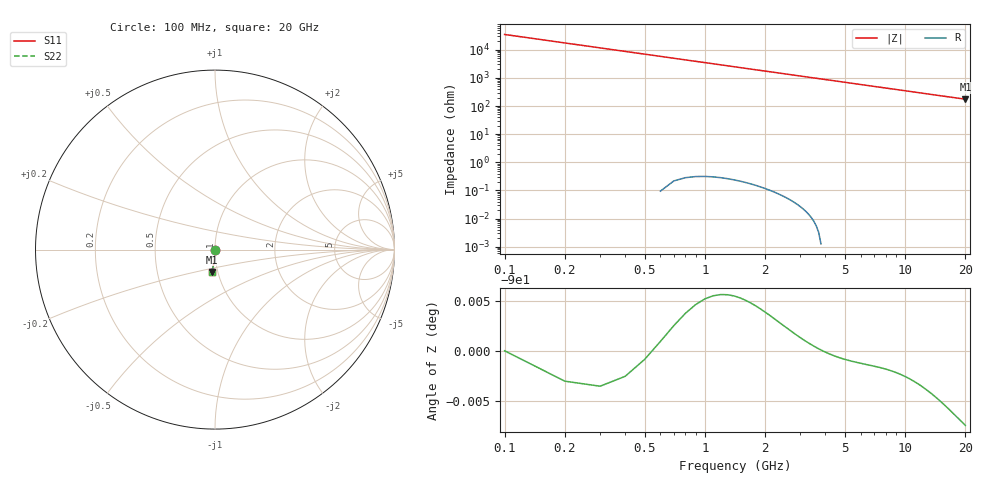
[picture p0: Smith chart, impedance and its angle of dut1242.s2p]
! Touchstone file exported from HFSS 2026.1.0
!  File:  C:/ffzhzh/LocalFiles/Ansys_Project_Files/temp_train_TSV_1242_1783193473_51560.aedt
!  Generated:  03:32:27 AM Jul  5, 2026
!  Design:  TSV
!  Project:  temp_train_TSV_1242_1783193473_51560
! Variables:
!  h_bsmrdl = 2um
!  h_ox = 20um
!  h_rdl = 5um
!  h_sub = 58.53um
!  h_tmrdl = 5um
!  h_tsv = 58.53um
!  h_via = 3um
!  l_bsmrdl = 300um
!  l_sub = 427um
!  l_tmrdl = 200um
!  m_sub = 200um
!  pitch = 29.53um
!  r_tsv = 13.5um
!  s_tmrdl = 10um
!  w_bsmrdl = 18um
!  w_sub = 500um
!  w_tmrdl = 12um
!  x_tsv_center1 = 206um
!  x_tsv_center2 = 524um
!  x_tsv_center3 = 736um
!  x_tsv_center4 = 1054um
!  x_tsv_center5 = 1266um
!  x_tsv_center6 = 1584um
# GHz S MA R 50.000000
! Terminal data exported
! Port[1] = TSV1_1_T1
! Port[2] = TSV1_1_T2
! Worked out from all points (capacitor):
!   200 points, 100 MHz to 20 GHz, reference 50 ohm
!   read as one part in shunt: C = 45.7 fF near 200 MHz
!   lowest |Z| = 174 ohm at 20 GHz (marker M1)
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0.1  0.0005899 -82.0  0.9999 -0.0  0.9999 -0.0  0.0005899 -82.0
! Gamma 0 0 0 0
! Port Impedance 50 0 50 0
0.2  0.001178 -85.2  0.9999 -0.1  0.9999 -0.1  0.001178 -85.2
0.3  0.001777 -86.0  0.9999 -0.1  0.9999 -0.1  0.001777 -86.0
0.4  0.002385 -86.4  0.9998 -0.2  0.9998 -0.2  0.002385 -86.4
0.5  0.003002 -86.7  0.9998 -0.2  0.9998 -0.2  0.003002 -86.7
0.7  0.004253 -87.1  0.9998 -0.3  0.9998 -0.3  0.004253 -87.1
0.8  0.004883 -87.3  0.9997 -0.4  0.9997 -0.4  0.004883 -87.3
1  0.006147 -87.7  0.9997 -0.5  0.9997 -0.5  0.006147 -87.7
1.2  0.007413 -88.1  0.9997 -0.6  0.9997 -0.6  0.007413 -88.1
1.4  0.008679 -88.4  0.9996 -0.7  0.9996 -0.7  0.008679 -88.4
1.7  0.01058 -88.8  0.9996 -0.8  0.9996 -0.8  0.01058 -88.8
2  0.01247 -89.1  0.9995 -0.9  0.9995 -0.9  0.01247 -89.1
2.7  0.0169 -89.7  0.9994 -1.3  0.9994 -1.3  0.0169 -89.7
3.5  0.02196 -90.3  0.9992 -1.6  0.9992 -1.6  0.02196 -90.3
4.2  0.0264 -90.7  0.9991 -1.9  0.9991 -1.9  0.0264 -90.7
5  0.03147 -91.2  0.9989 -2.3  0.9989 -2.3  0.03147 -91.2
6.8  0.0429 -92.1  0.9983 -3.1  0.9983 -3.1  0.0429 -92.1
8.3  0.05243 -92.9  0.9978 -3.8  0.9978 -3.8  0.05243 -92.9
10.1  0.06385 -93.8  0.997 -4.6  0.997 -4.6  0.06385 -93.8
13.4  0.08471 -95.4  0.9953 -6.1  0.9953 -6.1  0.08471 -95.4
16.7  0.1054 -97.0  0.9932 -7.6  0.9932 -7.6  0.1054 -97.0
20  0.126 -98.5  0.9907 -9.1  0.9907 -9.1  0.126 -98.5
